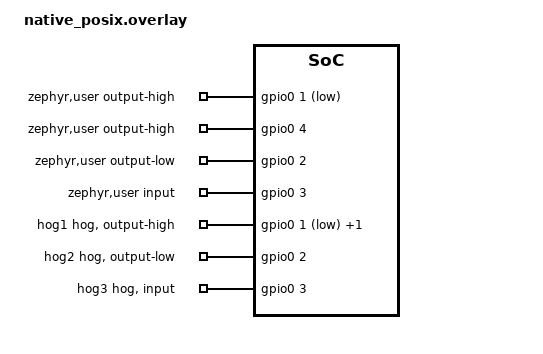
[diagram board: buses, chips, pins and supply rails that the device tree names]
/*
 * Copyright (c) 2023 Vestas Wind Systems A/S
 *
 * SPDX-License-Identifier: Apache-2.0
*/

#include <zephyr/dt-bindings/gpio/gpio.h>

/ {
     zephyr,user {
             output-high-gpios = <&gpio0 1 GPIO_ACTIVE_LOW>,
	     			 <&gpio0 4 GPIO_ACTIVE_HIGH>;
             output-low-gpios = <&gpio0 2 GPIO_ACTIVE_HIGH>;
             input-gpios = <&gpio0 3 GPIO_ACTIVE_HIGH>;
     };
};

&gpio0 {
	hog1 {
		gpio-hog;
		gpios = <1 GPIO_ACTIVE_LOW>, <4 GPIO_ACTIVE_HIGH>;
		output-high;
                line-names = "GPIO_01_L", "GPIO_04";
	};

	hog2 {
		gpio-hog;
		gpios = <2 GPIO_ACTIVE_HIGH>;
		output-low;
	};

	hog3 {
		gpio-hog;
		gpios = <3 GPIO_ACTIVE_HIGH>;
		input;
	};
};
